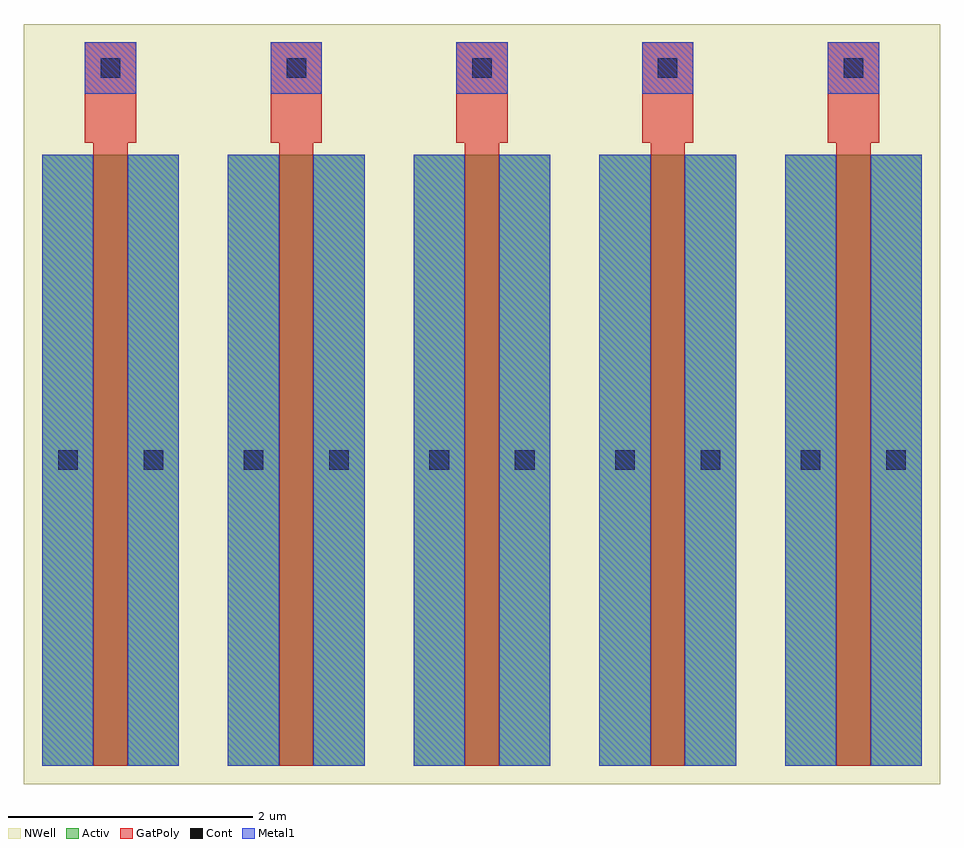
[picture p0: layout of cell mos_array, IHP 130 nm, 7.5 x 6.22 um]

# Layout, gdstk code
import gdstk
lib = gdstk.Library(unit=1e-6, precision=1e-09)
def R(c, l, rs):  # rectangles x0, y0, x1, y1
    for r in rs: c.add(gdstk.rectangle(r[:2], r[2:], *l))
def A(c, l, x, y, w, h, nx, ny, dx, dy):  # array of equal rectangles
    R(c, l, [(x+i*dx, y+j*dy, x+i*dx+w, y+j*dy+h) for i in range(nx) for j in range(ny)])
Activ = (1, 0)
GatPoly = (5, 0)
Cont = (6, 0)
Metal1 = (8, 0)
NWell = (31, 0)

mos_array = lib.new_cell('mos_array')
A(mos_array, Activ, 0, 0, 1.12, 5, 5, 1, 1.52, 0)
A(mos_array, GatPoly, 0.42, 0, 0.28, 5, 5, 1, 1.52, 0)
A(mos_array, GatPoly, 0.42, 5, 0.28, 0.1, 5, 1, 1.52, 0)
A(mos_array, GatPoly, 0.35, 5.1, 0.42, 0.82, 5, 1, 1.52, 0)
A(mos_array, Cont, 0.48, 5.63, 0.16, 0.16, 5, 1, 1.52, 0)
R(mos_array, Cont, [(0.13,2.42,0.29,2.58), (0.83,2.42,0.99,2.58), (1.65,2.42,1.81,2.58), (2.35,2.42,2.51,2.58), (3.17,2.42,3.33,2.58), (3.87,2.42,4.03,2.58), (4.69,2.42,4.85,2.58), (5.39,2.42,5.55,2.58), (6.21,2.42,6.37,2.58), (6.91,2.42,7.07,2.58)])
A(mos_array, Metal1, 0.35, 5.5, 0.42, 0.42, 5, 1, 1.52, 0)
R(mos_array, Metal1, [(0,0,0.42,5), (0.7,0,1.12,5), (1.52,0,1.94,5), (2.22,0,2.64,5), (3.04,0,3.46,5), (3.74,0,4.16,5), (4.56,0,4.98,5), (5.26,0,5.68,5), (6.08,0,6.5,5), (6.78,0,7.2,5)])
R(mos_array, NWell, [(-0.15,-0.15,7.35,6.07)])

lib.write_gds('mos_array.gds')
